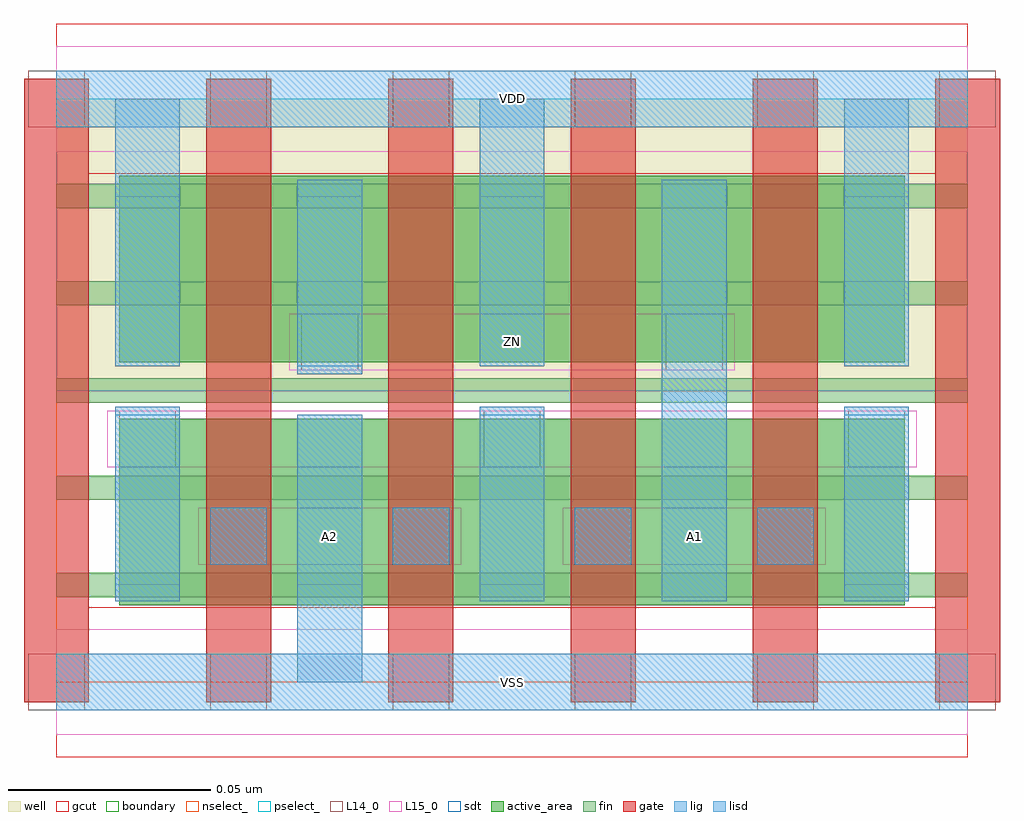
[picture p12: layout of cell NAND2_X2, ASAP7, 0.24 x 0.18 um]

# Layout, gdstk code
import gdstk
lib = gdstk.Library(unit=1e-6, precision=2.5e-10)
def R(c, l, rs):  # rectangles x0, y0, x1, y1
    for r in rs: c.add(gdstk.rectangle(r[:2], r[2:], *l))
def A(c, l, x, y, w, h, nx, ny, dx, dy):  # array of equal rectangles
    R(c, l, [(x+i*dx, y+j*dy, x+i*dx+w, y+j*dy+h) for i in range(nx) for j in range(ny)])
well = (1, 0)
fin = (2, 0)
gate = (7, 0)
gcut = (10, 0)
active_area = (11, 0)
nselect_ = (12, 0)
pselect_ = (13, 0)
L14_0 = (14, 0)
L15_0 = (15, 0)
lig = (16, 0)
lisd = (17, 0)
sdt = (88, 0)
boundary = (100, 0)

nand2_x2 = lib.new_cell('NAND2_X2')
R(nand2_x2, well, [(0,0.072,0.225,0.144)])
A(nand2_x2, fin, 0, 0.021, 0.225, 0.006, 1, 5, 0, 0.024)
A(nand2_x2, gate, -0.008, -0.005, 0.016, 0.154, 6, 1, 0.045, 0)
R(nand2_x2, gcut, [(0,-0.0185,0.225,0.0185), (-0.008,-0.005,0.008,0.149), (0.217,-0.005,0.233,0.149), (0,0.1255,0.225,0.1625)])
A(nand2_x2, active_area, 0.0155, 0.019, 0.059, 0.046, 4, 2, 0.045, 0.06)
R(nand2_x2, nselect_, [(0,0,0.225,0.072)])
R(nand2_x2, pselect_, [(0,0.072,0.225,0.144)])
A(nand2_x2, L14_0, -0.007, -0.007, 0.014, 0.014, 6, 2, 0.045, 0.144)
A(nand2_x2, L14_0, 0.038, 0.029, 0.014, 0.014, 4, 1, 0.045, 0)
A(nand2_x2, L14_0, 0.0155, 0.053, 0.014, 0.014, 3, 1, 0.09, 0)
R(nand2_x2, L14_0, [(0.0605,0.077,0.0745,0.091), (0.1505,0.077,0.1645,0.091)])
R(nand2_x2, L15_0, [(0,-0.013,0.225,0.013), (0.035,0.029,0.1,0.043), (0.125,0.029,0.19,0.043), (0.0125,0.053,0.2125,0.067), (0.0575,0.077,0.1675,0.091), (0,0.131,0.225,0.157)])
A(nand2_x2, lig, 0.038, 0.029, 0.014, 0.014, 4, 1, 0.045, 0)
R(nand2_x2, lig, [(0,-0.007,0.225,0.007), (0,0.137,0.225,0.151)])
R(nand2_x2, lisd, [(0.0595,0,0.0755,0.066), (0.0595,0,0.0755,0.066), (0.0145,0.02,0.0305,0.068), (0.1045,0.02,0.1205,0.068), (0.1045,0.02,0.1205,0.068), (0.1495,0.02,0.1655,0.124), (0.1495,0.02,0.1655,0.124), (0.1945,0.02,0.2105,0.068), (0.0595,0.076,0.0755,0.124), (0.0595,0.076,0.0755,0.124), (0.0145,0.078,0.0305,0.144), (0.1045,0.078,0.1205,0.144), (0.1045,0.078,0.1205,0.144), (0.1945,0.078,0.2105,0.144)])
R(nand2_x2, sdt, [(0.1495,0.02,0.1655,0.124), (0.1495,0.02,0.1655,0.124), (0.0145,0.024,0.0305,0.066), (0.0595,0.024,0.0755,0.066), (0.0595,0.024,0.0755,0.066), (0.1045,0.024,0.1205,0.066), (0.1045,0.024,0.1205,0.066), (0.1945,0.024,0.2105,0.066), (0.0145,0.078,0.0305,0.12), (0.0595,0.078,0.0755,0.12), (0.0595,0.078,0.0755,0.12), (0.1045,0.078,0.1205,0.12), (0.1045,0.078,0.1205,0.12), (0.1945,0.078,0.2105,0.12)])
R(nand2_x2, boundary, [(0,0,0.225,0.144)])
nand2_x2.add(gdstk.Label('VDD', (0.1125,0.144), layer=1, texttype=251))
nand2_x2.add(gdstk.Label('VSS', (0.1125,0), layer=3, texttype=251))
nand2_x2.add(gdstk.Label('A2', (0.0675,0.036), layer=15, texttype=251))
nand2_x2.add(gdstk.Label('ZN', (0.1125,0.084), layer=15, texttype=251))
nand2_x2.add(gdstk.Label('A1', (0.1575,0.036), layer=15, texttype=251))
nand2_x2.add(gdstk.Label('VSS', (0.1125,0), layer=15, texttype=251))
nand2_x2.add(gdstk.Label('VDD', (0.1125,0.144), layer=15, texttype=251))

lib.write_gds('NAND2_X2.gds')
